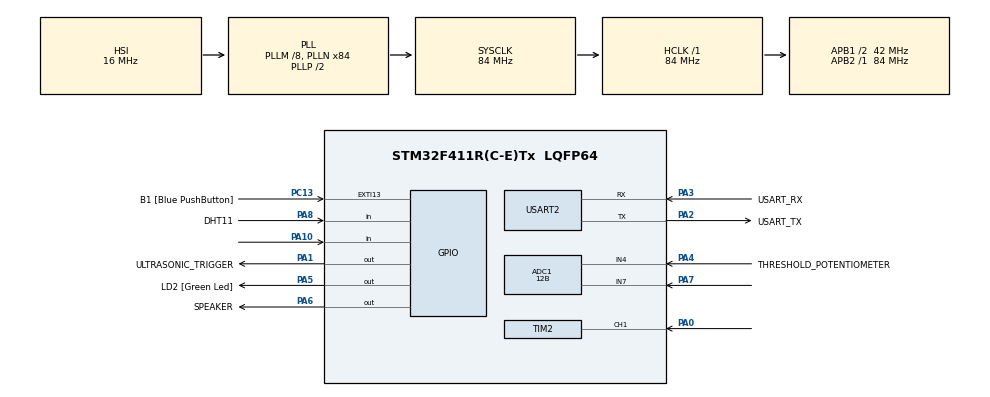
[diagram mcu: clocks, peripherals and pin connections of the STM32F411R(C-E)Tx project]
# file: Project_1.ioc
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ADC1.Channel-2\#ChannelRegularConversion=ADC_CHANNEL_4
ADC1.Channel-3\#ChannelRegularConversion=ADC_CHANNEL_7
ADC1.ContinuousConvMode=DISABLE
ADC1.DMAContinuousRequests=ENABLE
ADC1.DataAlign=ADC_DATAALIGN_RIGHT
ADC1.DiscontinuousConvMode=DISABLE
ADC1.EOCSelection=ADC_EOC_SEQ_CONV
ADC1.EnableAnalogWatchDog=false
ADC1.ExternalTrigConv=ADC_EXTERNALTRIGCONV_T3_TRGO
ADC1.InjNumberOfConversion=0
ADC1.NbrOfConversion=2
ADC1.NbrOfConversionFlag=1
ADC1.Rank-2\#ChannelRegularConversion=1
ADC1.Rank-3\#ChannelRegularConversion=2
ADC1.Resolution=ADC_RESOLUTION_12B
ADC1.SamplingTime-2\#ChannelRegularConversion=ADC_SAMPLETIME_3CYCLES
ADC1.SamplingTime-3\#ChannelRegularConversion=ADC_SAMPLETIME_3CYCLES
ADC1.ScanConvMode=ENABLE
ADC1.master=1
Dma.ADC1.0.Direction=DMA_PERIPH_TO_MEMORY
Dma.ADC1.0.FIFOMode=DMA_FIFOMODE_ENABLE
Dma.ADC1.0.FIFOThreshold=DMA_FIFO_THRESHOLD_FULL
Dma.ADC1.0.Instance=DMA2_Stream0
Dma.ADC1.0.MemBurst=DMA_MBURST_SINGLE
Dma.ADC1.0.MemDataAlignment=DMA_MDATAALIGN_WORD
Dma.ADC1.0.MemInc=DMA_MINC_ENABLE
Dma.ADC1.0.Mode=DMA_CIRCULAR
Dma.ADC1.0.PeriphBurst=DMA_PBURST_SINGLE
Dma.ADC1.0.PeriphDataAlignment=DMA_PDATAALIGN_WORD
Dma.ADC1.0.PeriphInc=DMA_PINC_DISABLE
Dma.ADC1.0.Priority=DMA_PRIORITY_MEDIUM
Dma.Request0=ADC1
FREERTOS.Tasks01=defaultTask,24,128,StartDefaultTask,Default,NULL,Dynamic,NULL,NULL;beep,24,128,beep_task,Default,NULL,Dynamic,NULL,NULL;checkTmp,24,128,temp_thread,Default,NULL,Dynamic,NULL,NULL;threshold_adjus,24,128,threshold_adjust_thread,Default,NULL,Dynamic,NULL,NULL;ultrasonic,24,128,ultrasonic_thread,Default,NULL,Dynamic,NULL,NULL;debug,24,128,debug_task,Default,NULL,Dynamic,NULL,NULL
Mcu.Family=STM32F4
Mcu.Name=STM32F411R(C-E)Tx
Mcu.Package=LQFP64
NVIC.DMA2_Stream0_IRQn=true\:0\:0\:false\:false\:true\:false\:false\:true
NVIC.PriorityGroup=NVIC_PRIORITYGROUP_4
NVIC.TIM1_UP_TIM10_IRQn=true\:0\:0\:false\:false\:true\:false\:false\:true
NVIC.TIM2_IRQn=true\:0\:0\:false\:false\:true\:true\:true\:true
NVIC.TimeBase=TIM1_UP_TIM10_IRQn
NVIC.TimeBaseIP=TIM1
PA0-WKUP.Signal=S_TIM2_CH1_ETR
PA1.GPIO_Label=ULTRASONIC_TRIGGER
PA1.Signal=GPIO_Output
PA10.Signal=GPIO_Input
PA13.GPIO_Label=TMS
PA13.Mode=Serial_Wire
PA13.Signal=SYS_JTMS-SWDIO
PA14.GPIO_Label=TCK
PA14.Mode=Serial_Wire
PA14.Signal=SYS_JTCK-SWCLK
PA2.GPIO_Label=USART_TX
PA2.Mode=Asynchronous
PA2.Signal=USART2_TX
PA3.GPIO_Label=USART_RX
PA3.Mode=Asynchronous
PA3.Signal=USART2_RX
PA4.GPIO_Label=THRESHOLD_POTENTIOMETER
PA4.Signal=ADCx_IN4
PA5.GPIO_Label=LD2 [Green Led]
PA5.Signal=GPIO_Output
PA6.GPIO_Label=SPEAKER
PA6.Signal=GPIO_Output
PA7.Signal=ADCx_IN7
PA8.GPIO_Label=DHT11
PA8.Signal=GPIO_Input
PB3.GPIO_Label=SWO
PB3.Signal=SYS_JTDO-SWO
PC13-ANTI_TAMP.GPIO_Label=B1 [Blue PushButton]
PC13-ANTI_TAMP.GPIO_ModeDefaultEXTI=GPIO_MODE_IT_FALLING
PC13-ANTI_TAMP.Signal=GPXTI13
PC14-OSC32_IN.Mode=LSE-External-Oscillator
PC14-OSC32_IN.Signal=RCC_OSC32_IN
PC15-OSC32_OUT.Mode=LSE-External-Oscillator
PC15-OSC32_OUT.Signal=RCC_OSC32_OUT
PH0\ -\ OSC_IN.Mode=HSE-External-Clock-Source
PH0\ -\ OSC_IN.Signal=RCC_OSC_IN
PH1\ -\ OSC_OUT.Mode=HSE-External-Clock-Source
PH1\ -\ OSC_OUT.Signal=RCC_OSC_OUT
ProjectManager.HeapSize=0x200
ProjectManager.StackSize=0x400
ProjectManager.TargetToolchain=STM32CubeIDE
RCC.48MHZClocksFreq_Value=42000000
RCC.AHBFreq_Value=84000000
RCC.APB1CLKDivider=RCC_HCLK_DIV2
RCC.APB1Freq_Value=42000000
RCC.APB1TimFreq_Value=84000000
RCC.APB2Freq_Value=84000000
RCC.APB2TimFreq_Value=84000000
RCC.CortexFreq_Value=84000000
RCC.FLatency-AdvancedSettings=FLASH_LATENCY_2
RCC.HCLKFreq_Value=84000000
RCC.HSE_VALUE=8000000
RCC.HSI_VALUE=16000000
RCC.PLLM=8
RCC.PLLN=84
RCC.SYSCLKFreq_VALUE=84000000
RCC.SYSCLKSource=RCC_SYSCLKSOURCE_PLLCLK
RCC.VCOOutputFreq_Value=168000000
SH.ADCx_IN4.0=ADC1_IN4,IN4
SH.ADCx_IN7.0=ADC1_IN7,IN7
SH.S_TIM2_CH1_ETR.0=TIM2_CH1,Input_Capture1_from_TI1
TIM2.Channel-Input_Capture1_from_TI1=TIM_CHANNEL_1
TIM2.ICPolarity_CH1=TIM_INPUTCHANNELPOLARITY_BOTHEDGE
TIM2.Period=0xffff-1
TIM2.Prescaler=72-1
TIM3.Channel-Output\ Compare1\ No\ Output=TIM_CHANNEL_1
TIM3.Period=100
TIM3.Prescaler=8400
TIM3.TIM_MasterOutputTrigger=TIM_TRGO_UPDATE
USART2.VirtualMode=VM_ASYNC
VP_FREERTOS_VS_CMSIS_V2.Mode=CMSIS_V2
VP_SYS_VS_tim1.Mode=TIM1
VP_TIM3_VS_no_output1.Mode=Output Compare1 No Output
board=NUCLEO-F411RE

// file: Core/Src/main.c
/* USER CODE BEGIN Header */
/**
  ******************************************************************************
  * @file           : main.c
  * @brief          : Main program body
  ******************************************************************************
  * @attention
  *
  * <h2><center>&copy; Copyright (c) 2020 STMicroelectronics.
  * All rights reserved.</center></h2>
  *
  * This software component is licensed by ST under BSD 3-Clause license,
  * the "License"; You may not use this file except in compliance with the
  * License. You may obtain a copy of the License at:
  *                        opensource.org/licenses/BSD-3-Clause
  *
  ******************************************************************************
  */
/* USER CODE END Header */
#include "main.h"
#include "cmsis_os.h"

/* USER CODE BEGIN Includes */
#include "DHT.h"
/* USER CODE END Includes */

ADC_HandleTypeDef hadc1;
DMA_HandleTypeDef hdma_adc1;

TIM_HandleTypeDef htim2;
TIM_HandleTypeDef htim3;

UART_HandleTypeDef huart2;

/* Definitions for defaultTask */
osThreadId_t defaultTaskHandle;
const osThreadAttr_t defaultTask_attributes = {
  .name = "defaultTask",
  .priority = (osPriority_t) osPriorityNormal,
  .stack_size = 128 * 4
};
/* Definitions for beep */
osThreadId_t beepHandle;
const osThreadAttr_t beep_attributes = {
  .name = "beep",
  .priority = (osPriority_t) osPriorityNormal,
  .stack_size = 128 * 4
};
/* Definitions for checkTmp */
osThreadId_t checkTmpHandle;
const osThreadAttr_t checkTmp_attributes = {
  .name = "checkTmp",
  .priority = (osPriority_t) osPriorityNormal,
  .stack_size = 128 * 4
};
/* Definitions for threshold_adjus */
osThreadId_t threshold_adjusHandle;
const osThreadAttr_t threshold_adjus_attributes = {
  .name = "threshold_adjus",
  .priority = (osPriority_t) osPriorityNormal,
  .stack_size = 128 * 4
};
/* Definitions for ultrasonic */
osThreadId_t ultrasonicHandle;
const osThreadAttr_t ultrasonic_attributes = {
  .name = "ultrasonic",
  .priority = (osPriority_t) osPriorityNormal,
  .stack_size = 128 * 4
};
/* Definitions for debug */
osThreadId_t debugHandle;
const osThreadAttr_t debug_attributes = {
  .name = "debug",
  .priority = (osPriority_t) osPriorityNormal,
  .stack_size = 128 * 4
};
/* USER CODE BEGIN PV */

uint32_t IC_Val1 = 0;
uint32_t IC_Val2 = 0;
uint32_t Difference = 0;
uint8_t Is_First_Captured = 0;  // is the first value captured ?
uint8_t Distance  = 0;

char buffer[100];

uint32_t adc_val[2];

int threshold = 10;
int range = 50;
int state = 0;
int direction = 0;

uint8_t Rh_byte1, Rh_byte2, Temp_byte1, Temp_byte2;
uint16_t SUM, RH, TEMP;

DHT_DataTypedef DHT11_Data;
float Temperature = 0;
float Humidity = 0;

/* USER CODE END PV */

void SystemClock_Config(void);
static void MX_GPIO_Init(void);
static void MX_DMA_Init(void);
static void MX_USART2_UART_Init(void);
static void MX_TIM2_Init(void);
static void MX_ADC1_Init(void);
static void MX_TIM3_Init(void);
void StartDefaultTask(void *argument);
void beep_task(void *argument);
void temp_thread(void *argument);
void threshold_adjust_thread(void *argument);
void ultrasonic_thread(void *argument);
void debug_task(void *argument);

/* USER CODE BEGIN 0 */
void delay (uint16_t time)
{
	__HAL_TIM_SetCounter(&htim2, 0);
	while (__HAL_TIM_GetCounter(&htim2) < time);
}

#define DHT11_PORT GPIOA
#define DHT11_PIN GPIO_PIN_8

void HCSR04_Read (void)
{
	HAL_GPIO_WritePin(GPIOA, GPIO_PIN_1, GPIO_PIN_SET);  // pull the TRIG pin HIGH
	delay(10);  // wait for 10 us
	HAL_GPIO_WritePin(GPIOA, GPIO_PIN_1, GPIO_PIN_RESET);  // pull the TRIG pin low
	__HAL_TIM_ENABLE_IT(&htim2, TIM_IT_CC1);
}

/* USER CODE END 0 */

int main(void)
{

  /* MCU Configuration--------------------------------------------------------*/

  /* Reset of all peripherals, Initializes the Flash interface and the Systick. */
  HAL_Init();

  /* Configure the system clock */
  SystemClock_Config();

  /* Initialize all configured peripherals */
  MX_GPIO_Init();
  MX_DMA_Init();
  MX_USART2_UART_Init();
  MX_TIM2_Init();
  MX_ADC1_Init();
  MX_TIM3_Init();
  /* USER CODE BEGIN 2 */
  HAL_ADC_Start_DMA(&hadc1, adc_val, 2);
  HAL_TIM_Base_Start(&htim3);
  HAL_TIM_IC_Start_IT(&htim2, TIM_CHANNEL_1);
  /* USER CODE END 2 */

  /* Init scheduler */
  osKernelInitialize();

  /* Create the thread(s) */
  /* creation of defaultTask */
  defaultTaskHandle = osThreadNew(StartDefaultTask, NULL, &defaultTask_attributes);

  /* creation of beep */
  beepHandle = osThreadNew(beep_task, NULL, &beep_attributes);

  /* creation of checkTmp */
  checkTmpHandle = osThreadNew(temp_thread, NULL, &checkTmp_attributes);

  /* creation of threshold_adjus */
  threshold_adjusHandle = osThreadNew(threshold_adjust_thread, NULL, &threshold_adjus_attributes);

  /* creation of ultrasonic */
  ultrasonicHandle = osThreadNew(ultrasonic_thread, NULL, &ultrasonic_attributes);

  /* creation of debug */
  debugHandle = osThreadNew(debug_task, NULL, &debug_attributes);

  /* Start scheduler */
  osKernelStart();

  /* We should never get here as control is now taken by the scheduler */
  /* Infinite loop */
  while (1)
  {

  }
}

void SystemClock_Config(void)
{
  RCC_OscInitTypeDef RCC_OscInitStruct = {0};
  RCC_ClkInitTypeDef RCC_ClkInitStruct = {0};

  /** Configure the main internal regulator output voltage
  */
  __HAL_RCC_PWR_CLK_ENABLE();
  __HAL_PWR_VOLTAGESCALING_CONFIG(PWR_REGULATOR_VOLTAGE_SCALE1);
  /** Initializes the RCC Oscillators according to the specified parameters
  * in the RCC_OscInitTypeDef structure.
  */
  RCC_OscInitStruct.OscillatorType = RCC_OSCILLATORTYPE_HSI;
  RCC_OscInitStruct.HSIState = RCC_HSI_ON;
  RCC_OscInitStruct.HSICalibrationValue = RCC_HSICALIBRATION_DEFAULT;
  RCC_OscInitStruct.PLL.PLLState = RCC_PLL_ON;
  RCC_OscInitStruct.PLL.PLLSource = RCC_PLLSOURCE_HSI;
  RCC_OscInitStruct.PLL.PLLM = 8;
  RCC_OscInitStruct.PLL.PLLN = 84;
  RCC_OscInitStruct.PLL.PLLP = RCC_PLLP_DIV2;
  RCC_OscInitStruct.PLL.PLLQ = 4;
  if (HAL_RCC_OscConfig(&RCC_OscInitStruct) != HAL_OK)
  {
    Error_Handler();
  }
  /** Initializes the CPU, AHB and APB buses clocks
  */
  RCC_ClkInitStruct.ClockType = RCC_CLOCKTYPE_HCLK|RCC_CLOCKTYPE_SYSCLK
                              |RCC_CLOCKTYPE_PCLK1|RCC_CLOCKTYPE_PCLK2;
  RCC_ClkInitStruct.SYSCLKSource = RCC_SYSCLKSOURCE_PLLCLK;
  RCC_ClkInitStruct.AHBCLKDivider = RCC_SYSCLK_DIV1;
  RCC_ClkInitStruct.APB1CLKDivider = RCC_HCLK_DIV2;
  RCC_ClkInitStruct.APB2CLKDivider = RCC_HCLK_DIV1;

  if (HAL_RCC_ClockConfig(&RCC_ClkInitStruct, FLASH_LATENCY_2) != HAL_OK)
  {
    Error_Handler();
  }
}

static void MX_ADC1_Init(void)
{

  ADC_ChannelConfTypeDef sConfig = {0};

  /** Configure the global features of the ADC (Clock, Resolution, Data Alignment and number of conversion)
  */
  hadc1.Instance = ADC1;
  hadc1.Init.ClockPrescaler = ADC_CLOCK_SYNC_PCLK_DIV4;
  hadc1.Init.Resolution = ADC_RESOLUTION_12B;
  hadc1.Init.ScanConvMode = ENABLE;
  hadc1.Init.ContinuousConvMode = DISABLE;
  hadc1.Init.DiscontinuousConvMode = DISABLE;
  hadc1.Init.ExternalTrigConvEdge = ADC_EXTERNALTRIGCONVEDGE_RISING;
  hadc1.Init.ExternalTrigConv = ADC_EXTERNALTRIGCONV_T3_TRGO;
  hadc1.Init.DataAlign = ADC_DATAALIGN_RIGHT;
  hadc1.Init.NbrOfConversion = 2;
  hadc1.Init.DMAContinuousRequests = ENABLE;
  hadc1.Init.EOCSelection = ADC_EOC_SEQ_CONV;
  if (HAL_ADC_Init(&hadc1) != HAL_OK)
  {
    Error_Handler();
  }
  /** Configure for the selected ADC regular channel its corresponding rank in the sequencer and its sample time.
  */
  sConfig.Channel = ADC_CHANNEL_4;
  sConfig.Rank = 1;
  sConfig.SamplingTime = ADC_SAMPLETIME_3CYCLES;
  if (HAL_ADC_ConfigChannel(&hadc1, &sConfig) != HAL_OK)
  {
    Error_Handler();
  }
  /** Configure for the selected ADC regular channel its corresponding rank in the sequencer and its sample time.
  */
  sConfig.Channel = ADC_CHANNEL_7;
  sConfig.Rank = 2;
  if (HAL_ADC_ConfigChannel(&hadc1, &sConfig) != HAL_OK)
  {
    Error_Handler();
  }

}

static void MX_TIM2_Init(void)
{

  TIM_MasterConfigTypeDef sMasterConfig = {0};
  TIM_IC_InitTypeDef sConfigIC = {0};

  htim2.Instance = TIM2;
  htim2.Init.Prescaler = 72-1;
  htim2.Init.CounterMode = TIM_COUNTERMODE_UP;
  htim2.Init.Period = 0xffff-1;
  htim2.Init.ClockDivision = TIM_CLOCKDIVISION_DIV1;
  htim2.Init.AutoReloadPreload = TIM_AUTORELOAD_PRELOAD_DISABLE;
  if (HAL_TIM_IC_Init(&htim2) != HAL_OK)
  {
    Error_Handler();
  }
  sMasterConfig.MasterOutputTrigger = TIM_TRGO_RESET;
  sMasterConfig.MasterSlaveMode = TIM_MASTERSLAVEMODE_DISABLE;
  if (HAL_TIMEx_MasterConfigSynchronization(&htim2, &sMasterConfig) != HAL_OK)
  {
    Error_Handler();
  }
  sConfigIC.ICPolarity = TIM_INPUTCHANNELPOLARITY_BOTHEDGE;
  sConfigIC.ICSelection = TIM_ICSELECTION_DIRECTTI;
  sConfigIC.ICPrescaler = TIM_ICPSC_DIV1;
  sConfigIC.ICFilter = 0;
  if (HAL_TIM_IC_ConfigChannel(&htim2, &sConfigIC, TIM_CHANNEL_1) != HAL_OK)
  {
    Error_Handler();
  }

}

static void MX_TIM3_Init(void)
{

  TIM_MasterConfigTypeDef sMasterConfig = {0};
  TIM_OC_InitTypeDef sConfigOC = {0};

  htim3.Instance = TIM3;
  htim3.Init.Prescaler = 8400;
  htim3.Init.CounterMode = TIM_COUNTERMODE_UP;
  htim3.Init.Period = 100;
  htim3.Init.ClockDivision = TIM_CLOCKDIVISION_DIV1;
  htim3.Init.AutoReloadPreload = TIM_AUTORELOAD_PRELOAD_DISABLE;
  if (HAL_TIM_OC_Init(&htim3) != HAL_OK)
  {
    Error_Handler();
  }
  sMasterConfig.MasterOutputTrigger = TIM_TRGO_UPDATE;
  sMasterConfig.MasterSlaveMode = TIM_MASTERSLAVEMODE_DISABLE;
  if (HAL_TIMEx_MasterConfigSynchronization(&htim3, &sMasterConfig) != HAL_OK)
  {
    Error_Handler();
  }
  sConfigOC.OCMode = TIM_OCMODE_TIMING;
  sConfigOC.Pulse = 0;
  sConfigOC.OCPolarity = TIM_OCPOLARITY_HIGH;
  sConfigOC.OCFastMode = TIM_OCFAST_DISABLE;
  if (HAL_TIM_OC_ConfigChannel(&htim3, &sConfigOC, TIM_CHANNEL_1) != HAL_OK)
  {
    Error_Handler();
  }

}

static void MX_USART2_UART_Init(void)
{

  huart2.Instance = USART2;
  huart2.Init.BaudRate = 115200;
  huart2.Init.WordLength = UART_WORDLENGTH_8B;
  huart2.Init.StopBits = UART_STOPBITS_1;
  huart2.Init.Parity = UART_PARITY_NONE;
  huart2.Init.Mode = UART_MODE_TX_RX;
  huart2.Init.HwFlowCtl = UART_HWCONTROL_NONE;
  huart2.Init.OverSampling = UART_OVERSAMPLING_16;
  if (HAL_UART_Init(&huart2) != HAL_OK)
  {
    Error_Handler();
  }

}

static void MX_DMA_Init(void)
{

  /* DMA controller clock enable */
  __HAL_RCC_DMA2_CLK_ENABLE();

  /* DMA interrupt init */
  /* DMA2_Stream0_IRQn interrupt configuration */
  HAL_NVIC_SetPriority(DMA2_Stream0_IRQn, 0, 0);
  HAL_NVIC_EnableIRQ(DMA2_Stream0_IRQn);

}

static void MX_GPIO_Init(void)
{
  GPIO_InitTypeDef GPIO_InitStruct = {0};

  /* GPIO Ports Clock Enable */
  __HAL_RCC_GPIOC_CLK_ENABLE();
  __HAL_RCC_GPIOH_CLK_ENABLE();
  __HAL_RCC_GPIOA_CLK_ENABLE();
  __HAL_RCC_GPIOB_CLK_ENABLE();

  /*Configure GPIO pin Output Level */
  HAL_GPIO_WritePin(GPIOA, ULTRASONIC_TRIGGER_Pin|LD2_Pin|SPEAKER_Pin, GPIO_PIN_RESET);

  /*Configure GPIO pin : B1_Pin */
  GPIO_InitStruct.Pin = B1_Pin;
  GPIO_InitStruct.Mode = GPIO_MODE_IT_FALLING;
  GPIO_InitStruct.Pull = GPIO_NOPULL;
  HAL_GPIO_Init(B1_GPIO_Port, &GPIO_InitStruct);

  /*Configure GPIO pins : ULTRASONIC_TRIGGER_Pin LD2_Pin SPEAKER_Pin */
  GPIO_InitStruct.Pin = ULTRASONIC_TRIGGER_Pin|LD2_Pin|SPEAKER_Pin;
  GPIO_InitStruct.Mode = GPIO_MODE_OUTPUT_PP;
  GPIO_InitStruct.Pull = GPIO_NOPULL;
  GPIO_InitStruct.Speed = GPIO_SPEED_FREQ_LOW;
  HAL_GPIO_Init(GPIOA, &GPIO_InitStruct);

  /*Configure GPIO pins : DHT11_Pin PA10 */
  GPIO_InitStruct.Pin = DHT11_Pin|GPIO_PIN_10;
  GPIO_InitStruct.Mode = GPIO_MODE_INPUT;
  GPIO_InitStruct.Pull = GPIO_NOPULL;
  HAL_GPIO_Init(GPIOA, &GPIO_InitStruct);

}

void StartDefaultTask(void *argument)
{
  /* USER CODE BEGIN 5 */
  /* Infinite loop */
  while(1)
  {
	  if (state == 1) {
		  if (HAL_GPIO_ReadPin(GPIOA, GPIO_PIN_6) == GPIO_PIN_SET) {
			  continue;
		  }
		  osDelay(3000);
		  if (state == 0) {
			  HAL_GPIO_WritePin(GPIOA, GPIO_PIN_6, GPIO_PIN_RESET);
			  continue;
		  }
		  HAL_GPIO_WritePin(GPIOA, GPIO_PIN_6, GPIO_PIN_SET);
	  } else {
		  HAL_GPIO_WritePin(GPIOA, GPIO_PIN_6, GPIO_PIN_RESET);
	  }
	  osDelay(50);
  }
  /* USER CODE END 5 */
}

void beep_task(void *argument)
{
  /* USER CODE BEGIN beep_task */
  /* Infinite loop */
  for(;;)
  {
	direction = HAL_GPIO_ReadPin(GPIOA, GPIO_PIN_10);
	if (Temperature > 28 || Distance == 0) {
    	state = 0;
    	HAL_GPIO_WritePin(GPIOA, GPIO_PIN_6, GPIO_PIN_RESET);
		continue;
	}
	if (direction == 1) {
		if (Distance <= threshold - 5 && Distance >= threshold - range || Distance > threshold + 10) {
			state = 1;
			continue;
		}
	} else {
		if (Distance >= threshold + 5 && Distance <= threshold + range || Distance > threshold + range + 10) {
			state = 1;
			continue;
		}
	}
	state = 0;
    osDelay(50);
  }
  /* USER CODE END beep_task */
}

void temp_thread(void *argument)
{
  /* USER CODE BEGIN temp_thread */
  /* Infinite loop */
  while(1)
  {
	  DHT_GetData(&DHT11_Data);
	  Temperature = DHT11_Data.Temperature;
	  Humidity = DHT11_Data.Humidity;;
	  osDelay(5000);
  }
  /* USER CODE END temp_thread */
}

void threshold_adjust_thread(void *argument)
{
  /* USER CODE BEGIN threshold_adjust_thread */
  /* Infinite loop */
//  HAL_ADC_Start_DMA(&hadc1, adc_val, 2);
  while(1)
  {
	  threshold = (((float) adc_val[0]/4096) * 250 + 10);
	  range = (((float) adc_val[1]/4096) * 200 + 10);
	  osDelay(100);
  }
  /* USER CODE END threshold_adjust_thread */
}

void ultrasonic_thread(void *argument)
{
  /* USER CODE BEGIN ultrasonic_thread */
  /* Infinite loop */
  for(;;)
  {
	HCSR04_Read();
	osDelay(100);
  }
  /* USER CODE END ultrasonic_thread */
}

void debug_task(void *argument)
{
  /* USER CODE BEGIN debug_task */
  /* Infinite loop */
  for(;;)
  {
//	  sprintf(buffer, "State: %d, Dist %d, Threshold %d, Tmp %.2f, Hum %.2f \r\n", state, Distance, threshold, Temperature, Humidity);
//	  HAL_UART_Transmit(&huart2, buffer, strlen(buffer), 500);
  	  // sprintf(buffer, "Distance: %d, Threshold: %d \r\n", Distance, threshold);
  	  sprintf(buffer, "State: %d, Dir: %d, Dist: %d, Threshold: %d, Range, %d, Tmp: %.2d, Hum: %.2d \r\n", state, direction, Distance, threshold, range, (int) Temperature, (int) Humidity);
  	  HAL_UART_Transmit(&huart2, buffer, strlen(buffer), 1000);
	  osDelay(2000);
  }
  /* USER CODE END debug_task */
}

void HAL_TIM_PeriodElapsedCallback(TIM_HandleTypeDef *htim)
{
  if (htim->Instance == TIM1) {
    HAL_IncTick();
  }
}

void Error_Handler(void)
{
}

/************************ (C) COPYRIGHT STMicroelectronics *****END OF FILE****/
